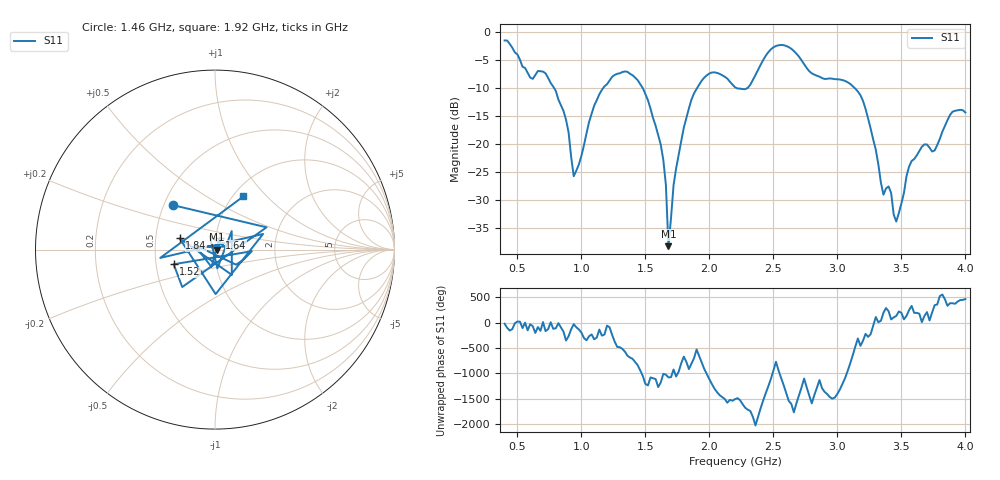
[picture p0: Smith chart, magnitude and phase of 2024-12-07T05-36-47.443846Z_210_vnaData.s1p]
!Created with skrf (http://scikit-rf.org).
# Hz S RI R 50.0
!freq ReS11 ImS11
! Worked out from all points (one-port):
!   181 points, 400 MHz to 4 GHz, reference 50 ohm
!   lowest |S11| = -38.3 dB at 1.68 GHz (marker M1), VSWR 1.02, Z = 51.2 - j0.0576 ohm
!   |S11| at or under -10 dB: 784.8 MHz to 1.173 GHz (387.7 MHz wide, 39.6 % of centre); 1.477 GHz to 1.906 GHz (428.1 MHz wide, 25.3 % of centre); 3.132 GHz to end of sweep (the widest 3 of 4)
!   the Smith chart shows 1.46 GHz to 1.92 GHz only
!   S11 on the Smith chart (normalised r, x): 1.46 GHz: 0.56, +0.31; 1.52 GHz: 0.62, -0.11; 1.64 GHz: 1.05, +0.14; 1.84 GHz: 0.67, +0.09; 1.92 GHz: 1.11, +0.75
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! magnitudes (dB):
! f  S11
! 400 MHz  -1.6
! 600 MHz  -8.2
! 720 MHz  -7.4
! 860 MHz  -14.1
! 940 MHz  -25.8
! 1.1 GHz  -13.2
! 1.3 GHz  -7.4
! 1.46 GHz  -9.4
! 1.52 GHz  -12.2
! 1.64 GHz  -22.9
! 1.66 GHz  -27.3
! 1.68 GHz  -38.3
! 1.72 GHz  -27.4
! 1.76 GHz  -21.9
! 1.84 GHz  -13.7
! 1.92 GHz  -9.5
! 2.04 GHz  -7.3
! 2.2 GHz  -9.9
! 2.3 GHz  -10.0
! 2.5 GHz  -2.8
! 2.66 GHz  -3.5
! 3.1 GHz  -9.3
! 3.2 GHz  -12.4
! 3.36 GHz  -29.1
! 3.4 GHz  -27.6
! 3.46 GHz  -33.9
! 3.56 GHz  -24.1
! 4 GHz  -14.4
